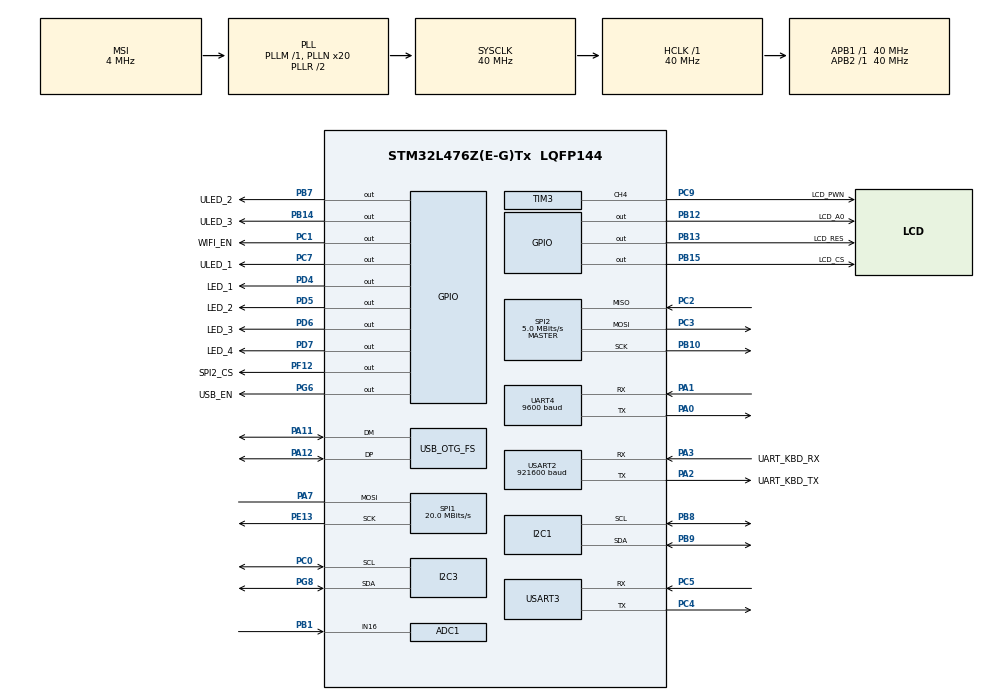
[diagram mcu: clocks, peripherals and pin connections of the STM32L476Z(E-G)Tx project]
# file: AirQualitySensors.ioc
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ADC1.Channel-0\#ChannelRegularConversion=ADC_CHANNEL_16
ADC1.Channel-1\#ChannelRegularConversion=ADC_CHANNEL_TEMPSENSOR
ADC1.Channel-2\#ChannelRegularConversion=ADC_CHANNEL_VREFINT
ADC1.ContinuousConvMode=ENABLE
ADC1.DMAContinuousRequests=ENABLE
ADC1.EOCSelection=ADC_EOC_SEQ_CONV
ADC1.NbrOfConversion=3
ADC1.NbrOfConversionFlag=1
ADC1.OffsetNumber-0\#ChannelRegularConversion=ADC_OFFSET_NONE
ADC1.OffsetNumber-1\#ChannelRegularConversion=ADC_OFFSET_NONE
ADC1.OffsetNumber-2\#ChannelRegularConversion=ADC_OFFSET_NONE
ADC1.Overrun=ADC_OVR_DATA_OVERWRITTEN
ADC1.OversamplingMode=ENABLE
ADC1.Rank-0\#ChannelRegularConversion=1
ADC1.Rank-1\#ChannelRegularConversion=2
ADC1.Rank-2\#ChannelRegularConversion=3
ADC1.Ratio=ADC_OVERSAMPLING_RATIO_256
ADC1.RightBitShift=ADC_RIGHTBITSHIFT_8
ADC1.SamplingTime-0\#ChannelRegularConversion=ADC_SAMPLETIME_640CYCLES_5
ADC1.SamplingTime-1\#ChannelRegularConversion=ADC_SAMPLETIME_640CYCLES_5
ADC1.SamplingTime-2\#ChannelRegularConversion=ADC_SAMPLETIME_640CYCLES_5
ADC1.master=1
Dma.ADC1.2.Direction=DMA_PERIPH_TO_MEMORY
Dma.ADC1.2.Instance=DMA1_Channel1
Dma.ADC1.2.MemDataAlignment=DMA_MDATAALIGN_HALFWORD
Dma.ADC1.2.MemInc=DMA_MINC_ENABLE
Dma.ADC1.2.Mode=DMA_CIRCULAR
Dma.ADC1.2.PeriphDataAlignment=DMA_PDATAALIGN_HALFWORD
Dma.ADC1.2.PeriphInc=DMA_PINC_DISABLE
Dma.ADC1.2.Priority=DMA_PRIORITY_LOW
Dma.Request0=USART3_RX
Dma.Request1=USART3_TX
Dma.Request2=ADC1
Dma.USART3_RX.0.Direction=DMA_PERIPH_TO_MEMORY
Dma.USART3_RX.0.Instance=DMA1_Channel3
Dma.USART3_RX.0.MemDataAlignment=DMA_MDATAALIGN_BYTE
Dma.USART3_RX.0.MemInc=DMA_MINC_ENABLE
Dma.USART3_RX.0.Mode=DMA_CIRCULAR
Dma.USART3_RX.0.PeriphDataAlignment=DMA_PDATAALIGN_BYTE
Dma.USART3_RX.0.PeriphInc=DMA_PINC_DISABLE
Dma.USART3_RX.0.Priority=DMA_PRIORITY_LOW
Dma.USART3_TX.1.Direction=DMA_MEMORY_TO_PERIPH
Dma.USART3_TX.1.Instance=DMA1_Channel2
Dma.USART3_TX.1.MemDataAlignment=DMA_MDATAALIGN_BYTE
Dma.USART3_TX.1.MemInc=DMA_MINC_ENABLE
Dma.USART3_TX.1.Mode=DMA_NORMAL
Dma.USART3_TX.1.PeriphDataAlignment=DMA_PDATAALIGN_BYTE
Dma.USART3_TX.1.PeriphInc=DMA_PINC_DISABLE
Dma.USART3_TX.1.Priority=DMA_PRIORITY_LOW
FREERTOS.BinarySemaphores01=lcd_mutex,Dynamic,NULL
FREERTOS.HEAP_NUMBER=1
FREERTOS.INCLUDE_uxTaskGetStackHighWaterMark=1
FREERTOS.INCLUDE_uxTaskGetStackHighWaterMark2=1
FREERTOS.MEMORY_ALLOCATION=0
FREERTOS.Tasks01=defaultTask,0,128,StartDefaultTask,Default,NULL,Dynamic,NULL,NULL;UserInterface,0,384,UserInterfaceTask,As weak,NULL,Dynamic,NULL,NULL;UsartDriverT,2,128,UsartDriver_Task,As weak,NULL,Dynamic,NULL,NULL;Wifi,0,512,WifiTask,As weak,NULL,Dynamic,NULL,NULL;Sensors,0,512,SensorsTask,As weak,NULL,Dynamic,NULL,NULL;SensorsBme680,-3,256,SensorsBme680Task,As weak,NULL,Dynamic,NULL,NULL
FREERTOS.configCHECK_FOR_STACK_OVERFLOW=2
FREERTOS.configENABLE_BACKWARD_COMPATIBILITY=0
FREERTOS.configGENERATE_RUN_TIME_STATS=1
FREERTOS.configRECORD_STACK_HIGH_ADDRESS=1
FREERTOS.configTOTAL_HEAP_SIZE=16384
FREERTOS.configUSE_COUNTING_SEMAPHORES=1
FREERTOS.configUSE_MALLOC_FAILED_HOOK=1
FREERTOS.configUSE_NEWLIB_REENTRANT=1
I2C1.Timing=0x00909BEB
I2C3.Timing=0x00909BEB
IWDG.Prescaler=IWDG_PRESCALER_32
IWDG.Reload=3999
IWDG.Window=3999
Mcu.Family=STM32L4
Mcu.Name=STM32L476Z(E-G)Tx
Mcu.Package=LQFP144
NVIC.DMA1_Channel1_IRQn=true\:5\:0\:false\:false\:true\:true\:false\:true\:true
NVIC.DMA1_Channel2_IRQn=true\:5\:0\:false\:false\:true\:true\:false\:true\:true
NVIC.DMA1_Channel3_IRQn=true\:5\:0\:false\:false\:true\:true\:false\:true\:true
NVIC.OTG_FS_IRQn=true\:5\:0\:false\:false\:true\:true\:true\:true\:true
NVIC.PriorityGroup=NVIC_PRIORITYGROUP_4
NVIC.SPI1_IRQn=true\:5\:0\:false\:false\:true\:true\:true\:true\:true
NVIC.TIM1_TRG_COM_TIM17_IRQn=true\:0\:0\:false\:false\:true\:false\:false\:true\:true
NVIC.TIM1_UP_TIM16_IRQn=true\:5\:0\:false\:false\:true\:true\:true\:true\:true
NVIC.TimeBase=TIM1_TRG_COM_TIM17_IRQn
NVIC.TimeBaseIP=TIM17
NVIC.UART4_IRQn=true\:5\:0\:false\:false\:true\:true\:true\:true\:true
NVIC.USART2_IRQn=true\:5\:0\:false\:false\:true\:true\:true\:true\:true
NVIC.USART3_IRQn=true\:5\:0\:false\:false\:true\:true\:true\:true\:true
PA0.Mode=Asynchronous
PA0.Signal=UART4_TX
PA1.Mode=Asynchronous
PA1.Signal=UART4_RX
PA11.Mode=Host_Only
PA11.Signal=USB_OTG_FS_DM
PA12.Mode=Host_Only
PA12.Signal=USB_OTG_FS_DP
PA13\ (JTMS-SWDIO).Mode=Trace_Asynchronous_SW
PA13\ (JTMS-SWDIO).Signal=SYS_JTMS-SWDIO
PA14\ (JTCK-SWCLK).Mode=Trace_Asynchronous_SW
PA14\ (JTCK-SWCLK).Signal=SYS_JTCK-SWCLK
PA2.GPIO_Label=UART_KBD_TX
PA2.Mode=Asynchronous
PA2.Signal=USART2_TX
PA3.GPIO_Label=UART_KBD_RX
PA3.Mode=Asynchronous
PA3.Signal=USART2_RX
PA7.Mode=Simplex_Bidirectional_Master
PA7.Signal=SPI1_MOSI
PB1.Signal=ADCx_IN16
PB10.Mode=Full_Duplex_Master
PB10.Signal=SPI2_SCK
PB12.GPIO_Label=LCD_A0
PB12.Signal=GPIO_Output
PB13.GPIO_Label=LCD_RES
PB13.Signal=GPIO_Output
PB14.GPIO_Label=ULED_3
PB14.Signal=GPIO_Output
PB15.GPIO_Label=LCD_CS
PB15.Signal=GPIO_Output
PB3\ (JTDO-TRACESWO).Mode=Trace_Asynchronous_SW
PB3\ (JTDO-TRACESWO).Signal=SYS_JTDO-SWO
PB7.GPIO_Label=ULED_2
PB7.Signal=GPIO_Output
PB8.Mode=I2C
PB8.Signal=I2C1_SCL
PB9.Mode=I2C
PB9.Signal=I2C1_SDA
PC0.Mode=I2C
PC0.Signal=I2C3_SCL
PC1.GPIO_Label=WIFI_EN
PC1.Signal=GPIO_Output
PC2.Mode=Full_Duplex_Master
PC2.Signal=SPI2_MISO
PC3.Mode=Full_Duplex_Master
PC3.Signal=SPI2_MOSI
PC4.GPIO_PuPd=GPIO_NOPULL
PC4.Mode=Asynchronous
PC4.Signal=USART3_TX
PC5.GPIO_PuPd=GPIO_NOPULL
PC5.Mode=Asynchronous
PC5.Signal=USART3_RX
PC7.GPIO_Label=ULED_1
PC7.Signal=GPIO_Output
PC9.GPIO_Label=LCD_PWN
PC9.Signal=S_TIM3_CH4
PD4.GPIO_Label=LED_1
PD4.Signal=GPIO_Output
PD5.GPIO_Label=LED_2
PD5.Signal=GPIO_Output
PD6.GPIO_Label=LED_3
PD6.Signal=GPIO_Output
PD7.GPIO_Label=LED_4
PD7.Signal=GPIO_Output
PE13.Mode=Simplex_Bidirectional_Master
PE13.Signal=SPI1_SCK
PF12.GPIO_Label=SPI2_CS
PF12.Signal=GPIO_Output
PG6.GPIO_Label=USB_EN
PG6.Signal=GPIO_Output
PG8.Mode=I2C
PG8.Signal=I2C3_SDA
ProjectManager.HeapSize=0x200
ProjectManager.StackSize=0x400
ProjectManager.TargetToolchain=STM32CubeIDE
RCC.ADCFreq_Value=48000000
RCC.AHBFreq_Value=40000000
RCC.APB1Freq_Value=40000000
RCC.APB1TimFreq_Value=40000000
RCC.APB2Freq_Value=40000000
RCC.APB2TimFreq_Value=40000000
RCC.CortexFreq_Value=40000000
RCC.HCLKFreq_Value=40000000
RCC.HSE_VALUE=8000000
RCC.HSI_VALUE=16000000
RCC.LSE_VALUE=32768
RCC.MSI_VALUE=4000000
RCC.PLLN=20
RCC.PLLSAI1N=24
RCC.SYSCLKFreq_VALUE=40000000
RCC.SYSCLKSource=RCC_SYSCLKSOURCE_PLLCLK
RCC.USBFreq_Value=48000000
RCC.VCOOutputFreq_Value=80000000
SH.ADCx_IN16.0=ADC1_IN16,IN16-Single-Ended
SH.S_TIM3_CH4.0=TIM3_CH4,PWM Generation4 CH4
SPI1.CalculateBaudRate=20.0 MBits/s
SPI1.DataSize=SPI_DATASIZE_8BIT
SPI1.Direction=SPI_DIRECTION_1LINE
SPI1.Mode=SPI_MODE_MASTER
SPI1.NSSPMode=SPI_NSS_PULSE_DISABLE
SPI1.VirtualType=VM_MASTER
SPI2.BaudRatePrescaler=SPI_BAUDRATEPRESCALER_8
SPI2.CalculateBaudRate=5.0 MBits/s
SPI2.DataSize=SPI_DATASIZE_8BIT
SPI2.Direction=SPI_DIRECTION_2LINES
SPI2.Mode=SPI_MODE_MASTER
SPI2.VirtualType=VM_MASTER
TIM16.Period=9
TIM16.Prescaler=40000
TIM3.Channel-PWM\ Generation4\ CH4=TIM_CHANNEL_4
TIM3.Period=255
TIM3.Prescaler=1
UART4.BaudRate=9600
USART2.BaudRate=921600
USART2.VirtualMode-Asynchronous=VM_ASYNC
USART3.DMADisableonRxErrorParam=ADVFEATURE_DMA_DISABLEONRXERROR
USART3.OneBitSampling=UART_ONE_BIT_SAMPLE_ENABLE
USART3.OverrunDisableParam=ADVFEATURE_OVERRUN_DISABLE
USART3.VirtualMode-Asynchronous=VM_ASYNC
USB_HOST.BSP.number=1
USB_HOST.USBH_HandleTypeDef=hUsbHostFS
USB_HOST.USBH_PROCESS_PRIO=osPriorityHigh
USB_HOST.USBH_USE_OS-HID_FS=0
USB_HOST.VirtualModeFS=Hid
USB_HOST0.BSP.STBoard=false
USB_HOST0.BSP.api=Unknown
USB_HOST0.BSP.instance=PG6
USB_HOST0.BSP.ip=GPIO
USB_HOST0.BSP.mode=Output
USB_HOST0.BSP.name=Drive_VBUS_FS
USB_HOST0.BSP.solution=PG6
USB_OTG_FS.VirtualMode=Host_Only
USB_OTG_FS.phy_itface=HCD_PHY_EMBEDDED
VP_ADC1_TempSens_Input.Mode=IN-TempSens
VP_ADC1_Vref_Input.Mode=IN-Vrefint
VP_FREERTOS_VS_CMSIS_V1.Mode=CMSIS_V1
VP_IWDG_VS_IWDG.Mode=IWDG_Activate
VP_SYS_VS_tim17.Mode=TIM17
VP_TIM16_VS_ClockSourceINT.Mode=Enable_Timer
VP_USB_HOST_VS_USB_HOST_HID_FS.Mode=HID_FS
board=custom

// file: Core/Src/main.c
/* USER CODE BEGIN Header */
/**
  ******************************************************************************
  * @file           : main.c
  * @brief          : Main program body
  ******************************************************************************
  * @attention
  *
  * <h2><center>&copy; Copyright (c) 2021 STMicroelectronics.
  * All rights reserved.</center></h2>
  *
  * This software component is licensed by ST under BSD 3-Clause license,
  * the "License"; You may not use this file except in compliance with the
  * License. You may obtain a copy of the License at:
  *                        opensource.org/licenses/BSD-3-Clause
  *
  ******************************************************************************
  */
/* USER CODE END Header */
#include "main.h"
#include "cmsis_os.h"
#include "adc.h"
#include "dma.h"
#include "i2c.h"
#include "iwdg.h"
#include "spi.h"
#include "tim.h"
#include "usart.h"
#include "usb_host.h"
#include "gpio.h"

/* USER CODE BEGIN Includes */
#include "app_config.h"
#include "app_hardware.h"
#include "user_interface.h"
#include "wifi.h"
#include "usart_driver.h"
#include "device_specific.h"
#include "honeywell_sensor.h"
/* USER CODE END Includes */

/* USER CODE BEGIN PV */
extern TIM_HandleTypeDef htim3;
/* USER CODE END PV */

void SystemClock_Config(void);
void PeriphCommonClock_Config(void);
void MX_FREERTOS_Init(void);

int main(void)
{

  /* MCU Configuration--------------------------------------------------------*/

  /* Reset of all peripherals, Initializes the Flash interface and the Systick. */
  HAL_Init();

  /* Configure the system clock */
  SystemClock_Config();

/* Configure the peripherals common clocks */
  PeriphCommonClock_Config();

  /* USER CODE BEGIN SysInit */
  App_HardwareInit();
  /* Keep CubeMX's complete init list for regeneration; the selectable
   * application init above owns peripheral startup. */
#if 0
  /* USER CODE END SysInit */

  /* Initialize all configured peripherals */
  MX_GPIO_Init();
  MX_DMA_Init();
  MX_USART2_UART_Init();
  MX_IWDG_Init();
  MX_SPI1_Init();
  MX_TIM3_Init();
  MX_USART3_UART_Init();
  MX_ADC1_Init();
  MX_TIM16_Init();
  MX_I2C1_Init();
  MX_SPI2_Init();
  MX_I2C3_Init();
  MX_UART4_Init();
  /* USER CODE BEGIN 2 */
#endif
#if APP_WATCHDOG_ENABLED
#ifdef DEBUG
  __HAL_DBGMCU_FREEZE_IWDG();
#else
  __HAL_DBGMCU_UNFREEZE_IWDG();
#endif
#endif
#if APP_LCD_ENABLED
  UI_Init();
#endif
#if APP_WIFI_ENABLED
  UsartDriver_Init();
  if(Wifi_Init() != HAL_OK)
  {
    Error_Handler();
  }
  if(HAL_TIM_Base_Start_IT(&htim16) != HAL_OK)
  {
    Error_Handler();
  }
#endif

#if APP_HPMA_ENABLED
  if(Honeywell_Init() != HAL_OK)
  {
    /* The particle sensor is optional. It stays marked invalid and
       Honeywell_Poll(), called from SensorsTask, keeps retrying. */
    Honeywell_RequestRestart();
  }
#endif

  for(int i = 0; i != 10; i++)
  {
    /* This startup blink runs before the scheduler, so nothing else is
       refreshing the ~4 s watchdog while it does. */
#if APP_WATCHDOG_ENABLED
    (void)HAL_IWDG_Refresh(&hiwdg);
#endif
    HAL_Delay(100);
    HAL_GPIO_WritePin(ULED_2_GPIO_Port, ULED_2_Pin, 1);
    HAL_Delay(100);
    HAL_GPIO_WritePin(ULED_2_GPIO_Port, ULED_2_Pin, 0);
  }
  /* USER CODE END 2 */

  /* Call init function for freertos objects (in freertos.c) */
  MX_FREERTOS_Init();

  /* Start scheduler */
  osKernelStart();
  /* We should never get here as control is now taken by the scheduler */
  /* Infinite loop */
  while (1)
  {

  }
}

void SystemClock_Config(void)
{
  RCC_OscInitTypeDef RCC_OscInitStruct = {0};
  RCC_ClkInitTypeDef RCC_ClkInitStruct = {0};

  /** Configure the main internal regulator output voltage
  */
  if (HAL_PWREx_ControlVoltageScaling(PWR_REGULATOR_VOLTAGE_SCALE1) != HAL_OK)
  {
    Error_Handler();
  }

  /** Initializes the RCC Oscillators according to the specified parameters
  * in the RCC_OscInitTypeDef structure.
  */
  RCC_OscInitStruct.OscillatorType = RCC_OSCILLATORTYPE_LSI|RCC_OSCILLATORTYPE_MSI;
  RCC_OscInitStruct.LSIState = RCC_LSI_ON;
  RCC_OscInitStruct.MSIState = RCC_MSI_ON;
  RCC_OscInitStruct.MSICalibrationValue = 0;
  RCC_OscInitStruct.MSIClockRange = RCC_MSIRANGE_6;
  RCC_OscInitStruct.PLL.PLLState = RCC_PLL_ON;
  RCC_OscInitStruct.PLL.PLLSource = RCC_PLLSOURCE_MSI;
  RCC_OscInitStruct.PLL.PLLM = 1;
  RCC_OscInitStruct.PLL.PLLN = 20;
  RCC_OscInitStruct.PLL.PLLP = RCC_PLLP_DIV7;
  RCC_OscInitStruct.PLL.PLLQ = RCC_PLLQ_DIV2;
  RCC_OscInitStruct.PLL.PLLR = RCC_PLLR_DIV2;
  if (HAL_RCC_OscConfig(&RCC_OscInitStruct) != HAL_OK)
  {
    Error_Handler();
  }

  /** Initializes the CPU, AHB and APB buses clocks
  */
  RCC_ClkInitStruct.ClockType = RCC_CLOCKTYPE_HCLK|RCC_CLOCKTYPE_SYSCLK
                              |RCC_CLOCKTYPE_PCLK1|RCC_CLOCKTYPE_PCLK2;
  RCC_ClkInitStruct.SYSCLKSource = RCC_SYSCLKSOURCE_PLLCLK;
  RCC_ClkInitStruct.AHBCLKDivider = RCC_SYSCLK_DIV1;
  RCC_ClkInitStruct.APB1CLKDivider = RCC_HCLK_DIV1;
  RCC_ClkInitStruct.APB2CLKDivider = RCC_HCLK_DIV1;

  if (HAL_RCC_ClockConfig(&RCC_ClkInitStruct, FLASH_LATENCY_2) != HAL_OK)
  {
    Error_Handler();
  }
}

void PeriphCommonClock_Config(void)
{
  RCC_PeriphCLKInitTypeDef PeriphClkInit = {0};

  /** Initializes the peripherals clock
  */
  PeriphClkInit.PeriphClockSelection = RCC_PERIPHCLK_USB|RCC_PERIPHCLK_ADC;
  PeriphClkInit.AdcClockSelection = RCC_ADCCLKSOURCE_PLLSAI1;
  PeriphClkInit.UsbClockSelection = RCC_USBCLKSOURCE_PLLSAI1;
  PeriphClkInit.PLLSAI1.PLLSAI1Source = RCC_PLLSOURCE_MSI;
  PeriphClkInit.PLLSAI1.PLLSAI1M = 1;
  PeriphClkInit.PLLSAI1.PLLSAI1N = 24;
  PeriphClkInit.PLLSAI1.PLLSAI1P = RCC_PLLP_DIV7;
  PeriphClkInit.PLLSAI1.PLLSAI1Q = RCC_PLLQ_DIV2;
  PeriphClkInit.PLLSAI1.PLLSAI1R = RCC_PLLR_DIV2;
  PeriphClkInit.PLLSAI1.PLLSAI1ClockOut = RCC_PLLSAI1_48M2CLK|RCC_PLLSAI1_ADC1CLK;
  if (HAL_RCCEx_PeriphCLKConfig(&PeriphClkInit) != HAL_OK)
  {
    Error_Handler();
  }
}

/* USER CODE BEGIN 4 */
int __io_putchar(int ch)
{
  ITM_SendChar(ch);
  return 0;
}

void HAL_UART_RxCpltCallback(UART_HandleTypeDef *huart)
{
  if(huart->Instance == huart4.Instance)
  {
      Honeywell_UartRecv(huart);
  }
}

/**
  * @brief UART error callback
  * @note  The HAL aborts the pending interrupt-driven reception on overrun,
  *        noise and framing errors. Without rearming, a single such error
  *        would freeze the particle readings for good.
  */
void HAL_UART_ErrorCallback(UART_HandleTypeDef *huart)
{
  if(huart->Instance == huart4.Instance)
  {
      Honeywell_UartError(huart);
  }
}

void _putchar(char character)
{
    ITM_SendChar(character);
}
/* USER CODE END 4 */

void HAL_TIM_PeriodElapsedCallback(TIM_HandleTypeDef *htim)
{
  if (htim->Instance == TIM17) {
    HAL_IncTick();
  }
  /* USER CODE BEGIN Callback 1 */
  if(htim->Instance == TIM17)
  {
#if APP_WIFI_ENABLED
    Wifi_SysTick();
#endif
  }
  else if(htim->Instance == TIM16)
  {
#if APP_WIFI_ENABLED
    Wifi_10MsIsr();
#endif
  }

  /* USER CODE END Callback 1 */
}

void Error_Handler(void)
{
  /* USER CODE BEGIN Error_Handler_Debug */
  /* User can add his own implementation to report the HAL error return state */
  while (1)
  {
    HAL_GPIO_TogglePin(ULED_3_GPIO_Port, ULED_3_Pin);
    HAL_Delay(200U);
  }
  /* USER CODE END Error_Handler_Debug */
}

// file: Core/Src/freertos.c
#include "FreeRTOS.h"
#include "task.h"

#include <stddef.h>
#include <stdint.h>
#include <string.h>

#include "app_config.h"
#include "device_config.h"
#include "bosch_sensor.h"
#include "cmsis_os.h"
#include "i2c_bus.h"
#include "iwdg.h"
#include "main.h"
#include "measurement_format.h"
#include "measurement_store.h"
#include "protocol.h"
#include "sensors.h"
#include "task_health.h"
#include "usart.h"
#include "usart_driver.h"
#include "usb_host.h"
#include "usb_net.h"
#include "usbh_hid_keybd.h"
#include "user_interface.h"
#include "wifi.h"

extern USBH_HandleTypeDef hUsbHostFS;
extern ApplicationTypeDef Appli_state;

osThreadId defaultTaskHandle;
osThreadId UserInterfaceHandle;
osThreadId UsartDriverTHandle;
osThreadId WifiHandle;
osThreadId SensorsHandle;
osThreadId SensorsBme680Handle;
osThreadId UsbNetHandle;
osMutexId lcd_mutexHandle;

#if APP_HOST_UART_ENABLED
static uint32_t last_measurement_sent;
#endif

/*
 * Watchdog deadlines. Each is generous relative to its task's loop period so
 * that normal jitter never trips it, while still catching a task that has
 * stopped making progress. The IWDG itself expires about 4 s after the last
 * refresh, so a missed deadline resets the device shortly after it is noticed.
 */
#define TASK_DEADLINE_USER_INTERFACE_MS 5000U   /* loop period 500 ms  */
#define TASK_DEADLINE_SENSORS_MS        10000U  /* loop period 1000 ms */
#define TASK_DEADLINE_BME680_MS         10000U  /* loop period <= 1000 ms */
#define TASK_DEADLINE_WIFI_MS           30000U  /* setup retries take 5 s each */

#if APP_HOST_UART_ENABLED && APP_USB_HOST_ENABLED
static void SendMessage(const uint8_t* message, size_t length)
{
    uint8_t output[257];
    if(message == NULL || length > (sizeof(output) - 2U))
    {
        return;
    }

    memcpy(output, message, length);
    const uint16_t crc = Protocol_Crc16(message, length);
    output[length] = (uint8_t)(crc & 0xFFU);
    output[length + 1U] = (uint8_t)(crc >> 8U);
    (void)HAL_UART_Transmit(
        &huart2, output, (uint16_t)(length + 2U), 100U);
}

static void SendPressedKeys(void)
{
    if(Appli_state != APPLICATION_READY)
    {
        return;
    }

    HID_KEYBD_Info_TypeDef keyboard_info;
    uint8_t have_keyboard_info = 0U;
    const uint32_t interrupt_state = __get_PRIMASK();
    __disable_irq();
    const HID_KEYBD_Info_TypeDef* source = USBH_HID_GetKeybdInfo(&hUsbHostFS);
    if(source != NULL)
    {
        keyboard_info = *source;
        have_keyboard_info = 1U;
    }
    if(interrupt_state == 0U)
    {
        __enable_irq();
    }

    if(have_keyboard_info != 0U)
    {
        SendMessage((const uint8_t*)&keyboard_info, sizeof(keyboard_info));
    }
}

#endif

#if APP_HOST_UART_ENABLED
static void SendMeasurements(void)
{
    const uint32_t now = osKernelSysTick();
    if((now - last_measurement_sent) < APP_MEASUREMENT_SEND_INTERVAL_MS)
    {
        return;
    }

    MeasurementSnapshot measurement;
    char output[MEASUREMENT_FORMAT_MAX_LEN];
    Measurements_GetSnapshot(&measurement);
    const int length = Measurements_Format(output, sizeof(output), &measurement);
    if(length > 0)
    {
        (void)HAL_UART_Transmit(
            &huart2, (uint8_t*)output, (uint16_t)length, 100U);
    }
    last_measurement_sent = now;
}
#endif

static void StartDefaultTask(void const* argument)
{
    (void)argument;
#if APP_USB_HOST_ENABLED
    MX_USB_HOST_Init();
#endif
#if APP_HOST_UART_ENABLED && APP_USB_HOST_ENABLED
    static const uint8_t reset_message[] = "reset";
    SendMessage(reset_message, sizeof(reset_message) - 1U);
#endif

    for(;;)
    {
#if APP_HOST_UART_ENABLED && APP_USB_HOST_ENABLED
        SendPressedKeys();
#endif
#if APP_HOST_UART_ENABLED
        SendMeasurements();
#endif

        /* Refresh the watchdog only while every essential task is still
         * making progress. Refreshing unconditionally from here meant the
         * device stayed alive with all of its real work wedged. */
#if APP_WATCHDOG_ENABLED
        if(hiwdg.Instance != NULL && TaskHealth_AllAlive(osKernelSysTick()) != 0U)
        {
            (void)HAL_IWDG_Refresh(&hiwdg);
        }
#endif
        osDelay(10U);
    }
}

void vApplicationStackOverflowHook(TaskHandle_t task, signed char* task_name)
{
    (void)task;
    (void)task_name;
    Error_Handler();
}

void vApplicationMallocFailedHook(void)
{
    Error_Handler();
}

void MX_FREERTOS_Init(void)
{
    DeviceConfig_Init();
#if APP_LCD_ENABLED
    osMutexDef(lcd_mutex);
    lcd_mutexHandle = osMutexCreate(osMutex(lcd_mutex));
    if(lcd_mutexHandle == NULL)
    {
        Error_Handler();
    }
#endif

#if APP_I2C1_ENABLED
    I2cBus_Init();
#endif

    /* Registering before the scheduler starts means a task that never reaches
     * its first loop iteration is caught by the watchdog as well. */
    const uint32_t now = osKernelSysTick();
    (void)now;
    TaskHealth_Reset();
#if APP_LCD_ENABLED
    TaskHealth_Register(
        TASK_HEALTH_USER_INTERFACE, TASK_DEADLINE_USER_INTERFACE_MS, now);
#endif
#if APP_SENSORS_TASK_ENABLED
    TaskHealth_Register(TASK_HEALTH_SENSORS, TASK_DEADLINE_SENSORS_MS, now);
#endif
#if APP_BME_LIGHT_TASK_ENABLED
    TaskHealth_Register(TASK_HEALTH_BME680, TASK_DEADLINE_BME680_MS, now);
#endif
#if APP_WIFI_ENABLED
    TaskHealth_Register(TASK_HEALTH_WIFI, TASK_DEADLINE_WIFI_MS, now);
#endif
#if APP_USB_RNDIS_ENABLED
    TaskHealth_Register(TASK_HEALTH_USB_NET, 5000U, now);
#endif

    osThreadDef(defaultTask, StartDefaultTask, osPriorityHigh, 0U, 384U);
    defaultTaskHandle = osThreadCreate(osThread(defaultTask), NULL);

#if APP_USB_RNDIS_ENABLED
    osThreadDef(UsbNet, UsbNet_Task, osPriorityAboveNormal, 0U, 2048U);
    UsbNetHandle = osThreadCreate(osThread(UsbNet), NULL);
    if(UsbNetHandle == NULL) { Error_Handler(); }
#endif

#if APP_LCD_ENABLED
    osThreadDef(UserInterface, UserInterfaceTask, osPriorityNormal, 0U, 384U);
    UserInterfaceHandle = osThreadCreate(osThread(UserInterface), NULL);
#endif

#if APP_WIFI_ENABLED
    osThreadDef(UsartDriverT, UsartDriver_Task, osPriorityHigh, 0U, 256U);
    UsartDriverTHandle = osThreadCreate(osThread(UsartDriverT), NULL);

    osThreadDef(Wifi, WifiTask, osPriorityNormal, 0U, 512U);
    WifiHandle = osThreadCreate(osThread(Wifi), NULL);
#endif

#if APP_SENSORS_TASK_ENABLED
    osThreadDef(Sensors, SensorsTask, osPriorityNormal, 0U, 512U);
    SensorsHandle = osThreadCreate(osThread(Sensors), NULL);
#endif

#if APP_BME_LIGHT_TASK_ENABLED
#if APP_BSEC_ENABLED
    osThreadDef(SensorsBme680, SensorsBme680Task, osPriorityBelowNormal, 0U, 2048U);
#else
    osThreadDef(SensorsBme680, SensorsBme680Task, osPriorityBelowNormal, 0U, 768U);
#endif
    SensorsBme680Handle = osThreadCreate(osThread(SensorsBme680), NULL);
#endif

    if(defaultTaskHandle == NULL
#if APP_LCD_ENABLED
       || UserInterfaceHandle == NULL
#endif
#if APP_SENSORS_TASK_ENABLED
       || SensorsHandle == NULL
#endif
#if APP_BME_LIGHT_TASK_ENABLED
       || SensorsBme680Handle == NULL
#endif
       )
    {
        Error_Handler();
    }
#if APP_WIFI_ENABLED
    if(UsartDriverTHandle == NULL || WifiHandle == NULL)
    {
        Error_Handler();
    }
#endif
}
